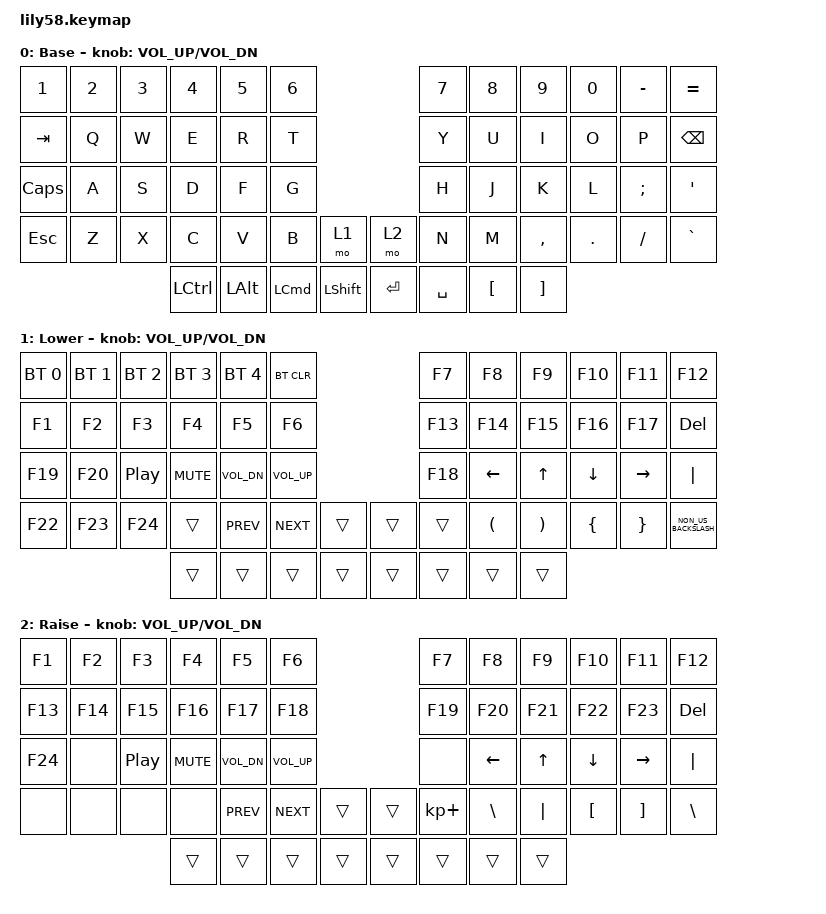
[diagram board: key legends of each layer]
/*
 * Copyright (c) 2020 The ZMK Contributors
 *
 * SPDX-License-Identifier: MIT
 */

#include <behaviors.dtsi>
#include <dt-bindings/zmk/bt.h>
#include <dt-bindings/zmk/keys.h>

/ {
    keymap {
        compatible = "zmk,keymap";

        default_layer {
            // ------------------------------------------------------------------------------------------------------------
            // |  ESC  |  1  |  2  |  3   |  4   |  5   |                   |  6   |  7    |  8    |  9   |   0   |   `   |
            // |  TAB  |  Q  |  W  |  E   |  R   |  T   |                   |  Y   |  U    |  I    |  O   |   P   |   -   |
            // |  CTRL |  A  |  S  |  D   |  F   |  G   |                   |  H   |  J    |  K    |  L   |   ;   |   '   |
            // | SHIFT |  Z  |  X  |  C   |  V   |  B   |   "["  |  |  "]"  |  N   |  M    |  ,    |  .   |   /   | SHIFT |
            //                     | ALT  | GUI  | LOWER|  SPACE |  | ENTER | RAISE| BSPC  | GUI   |

            display-name = "Base";
            bindings = <
&kp NUMBER_1  &kp NUMBER_2  &kp NUMBER_3  &kp NUMBER_4      &kp N5        &kp NUMBER_6                                 &kp N7     &kp N8            &kp N9             &kp N0   &kp MINUS  &kp EQUAL
&kp TAB       &kp Q         &kp W         &kp E             &kp R         &kp T                                        &kp Y      &kp U             &kp I              &kp O    &kp P      &kp BACKSPACE
&kp CAPS      &kp A         &kp S         &kp D             &kp F         &kp G                                        &kp H      &kp J             &kp K              &kp L    &kp SEMI   &kp SQT
&kp ESC       &kp Z         &kp X         &kp C             &kp V         &kp B             &mo 1             &mo 2    &kp N      &kp M             &kp COMMA          &kp DOT  &kp FSLH   &kp GRAVE
                                          &kp LEFT_CONTROL  &kp LEFT_ALT  &kp LEFT_COMMAND  &kp LEFT_SHIFT    &kp RET  &kp SPACE  &kp LEFT_BRACKET  &kp RIGHT_BRACKET
            >;

            sensor-bindings = <&inc_dec_kp C_VOL_UP C_VOL_DN>;
        };

        lower_layer {
            // ------------------------------------------------------------------------------------------------------------
            // | BTCLR | BT1 | BT2 |  BT3 |  BT4 |  BT5 |                   |      |       |       |      |       |       |
            // |  F1   |  F2 |  F3 |  F4  |  F5  |  F6  |                   |  F7  |  F8   |  F9   |  F10 |  F11  |  F12  |
            // |   `   |  !  |  @  |  #   |  $   |  %   |                   |  ^   |  &    |  *    |  (   |   )   |   ~   |
            // |       |     |     |      |      |      |        |  |       |      |  _    |  +    |  {   |   }   |  "|"  |
            //                     |      |      |      |        |  |       |      |       |       |

            display-name = "Lower";
            bindings = <
&bt BT_SEL 0  &bt BT_SEL 1  &bt BT_SEL 2      &bt BT_SEL 3  &bt BT_SEL 4  &bt BT_CLR                         &kp F7   &kp F8                &kp F9                 &kp F10         &kp F11          &kp F12
&kp F1        &kp F2        &kp F3            &kp F4        &kp F5        &kp F6                             &kp F13  &kp F14               &kp F15                &kp F16         &kp F17          &kp DEL
&kp F19       &kp F20       &kp C_PLAY_PAUSE  &kp K_MUTE    &kp C_VOL_DN  &kp C_VOLUME_UP                    &kp F18  &kp LEFT_ARROW        &kp UP_ARROW           &kp DOWN_ARROW  &kp RIGHT_ARROW  &kp PIPE
&kp F22       &kp F23       &kp F24           &trans        &kp C_PREV    &kp C_NEXT       &trans    &trans  &trans   &kp LEFT_PARENTHESIS  &kp RIGHT_PARENTHESIS  &kp LBRC        &kp RBRC         &kp NON_US_BACKSLASH
                                              &trans        &trans        &trans           &trans    &trans  &trans   &trans                &trans
            >;

            sensor-bindings = <&inc_dec_kp C_VOL_UP C_VOL_DN>;
        };

        raise_layer {
            // ------------------------------------------------------------------------------------------------------------
            // |       |     |     |      |      |      |                   |      |       |       |      |       |       |
            // |   `   |  1  |  2  |  3   |  4   |  5   |                   |  6   |   7   |   8   |  9   |   0   |       |
            // |   F1  |  F2 |  F3 |  F4  |  F5  |  F6  |                   |      |   <-  |   v   |  ^   |  ->   |       |
            // |   F7  |  F8 |  F9 |  F10 |  F11 |  F12 |        |  |       |  +   |   -   |   =   |  [   |   ]   |   \   |
            //                     |      |      |      |        |  |       |      |       |       |

            display-name = "Raise";
            bindings = <
&kp F1   &kp F2   &kp F3            &kp F4      &kp F5        &kp F6                             &kp F7       &kp F8          &kp F9        &kp F10         &kp F11          &kp F12
&kp F13  &kp F14  &kp F15           &kp F16     &kp F17       &kp F18                            &kp F19      &kp F20         &kp F21       &kp F22         &kp F23          &kp DEL
&kp F24  &none    &kp C_PLAY_PAUSE  &kp K_MUTE  &kp C_VOL_DN  &kp C_VOLUME_UP                    &none        &kp LEFT_ARROW  &kp UP_ARROW  &kp DOWN_ARROW  &kp RIGHT_ARROW  &kp PIPE
&none    &none    &none             &none       &kp C_PREV    &kp C_NEXT       &trans    &trans  &kp KP_PLUS  &kp BACKSLASH   &kp PIPE      &kp LBKT        &kp RBKT         &kp BSLH
                                    &trans      &trans        &trans           &trans    &trans  &trans       &trans          &trans
            >;

            sensor-bindings = <&inc_dec_kp C_VOL_UP C_VOL_DN>;
        };
    };
};
